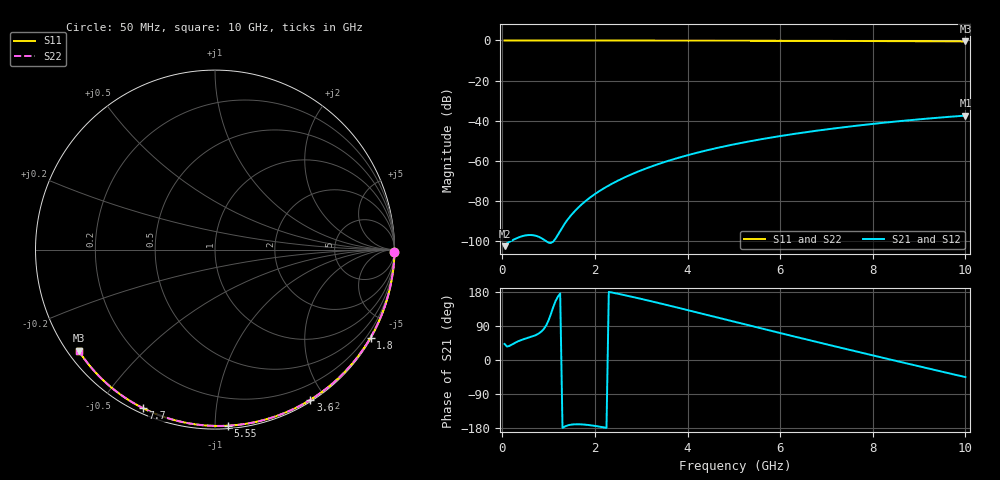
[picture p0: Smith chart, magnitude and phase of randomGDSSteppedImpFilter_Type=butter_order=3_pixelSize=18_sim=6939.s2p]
! freq	dB(S11)	phase(S11)	dB(S12)	phase(S12)
!  dB(S21)	phase(S21)	dB(S22)	phase(S22)
!S-par simulation data
#  GHz  S  DB  R 50
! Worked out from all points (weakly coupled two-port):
!   200 points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, 50 MHz to 10 GHz, reference 50 ohm
!   highest |S21| = -37.51 dB at 10 GHz (marker M1); lowest = -102.7 dB at 50 MHz (marker M2)
!   lowest |S11| = -0.5 dB at 10 GHz (marker M3), VSWR 35.79, Z = 1.55 - j16.5 ohm
!   |S11| at or under -10 dB: nowhere
!   |S22| runs from -0.5 to 0.0 dB; largest |S21 - S12| = 0
!   S11 on the Smith chart (normalised r, x): 50 MHz: open; 1.8 GHz: 0.03, -3.80; 3.6 GHz: 0.02, -1.82; 5.55 GHz: 0.02, -1.08; 7.7 GHz: 0.02, -0.64; 10 GHz: 0.03, -0.33
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0.05  -0.00 -0.8  -102.65 42.4  -102.65 42.4  -0.00 -0.8
0.45  -0.01 -7.5  -97.53 54.4  -97.53 54.4  -0.01 -7.5
0.9  -0.02 -14.9  -99.45 82.4  -99.45 82.4  -0.02 -14.9
1.3  -0.03 -21.4  -93.11 -179.2  -93.11 -179.2  -0.03 -21.4
1.75  -0.04 -28.7  -81.08 -170.2  -81.08 -170.2  -0.04 -28.7
1.8  -0.04 -29.5  -80.11 -170.8  -80.11 -170.8  -0.04 -29.5
2  -0.04 -32.7  -76.65 -173.8  -76.65 -173.8  -0.04 -32.7
2.15  -0.05 -35.1  -74.40 -176.9  -74.40 -176.9  -0.05 -35.1
2.5  -0.05 -40.6  -69.91 174.8  -69.91 174.8  -0.05 -40.6
2.9  -0.06 -46.9  -65.73 164.1  -65.73 164.1  -0.06 -46.9
3.4  -0.07 -54.5  -61.44 149.7  -61.44 149.7  -0.07 -54.5
3.6  -0.08 -57.6  -59.95 143.8  -59.95 143.8  -0.08 -57.6
3.9  -0.09 -62.1  -57.91 134.8  -57.91 134.8  -0.09 -62.1
4.3  -0.10 -68.0  -55.48 122.7  -55.48 122.7  -0.10 -68.0
5.05  -0.12 -78.8  -51.63 99.8  -51.63 99.8  -0.12 -78.7
5.55  -0.14 -85.8  -49.46 84.7  -49.46 84.7  -0.14 -85.8
6.1  -0.17 -93.3  -47.35 68.1  -47.35 68.1  -0.17 -93.3
6.7  -0.20 -101.3  -45.31 50.3  -45.31 50.3  -0.20 -101.3
7.7  -0.26 -114.4  -42.41 20.9  -42.41 20.9  -0.26 -114.4
8.35  -0.31 -122.7  -40.79 2.0  -40.79 2.0  -0.31 -122.7
9.2  -0.40 -133.4  -38.95 -22.4  -38.95 -22.4  -0.40 -133.4
10  -0.49 -143.5  -37.51 -45.1  -37.51 -45.1  -0.49 -143.5
